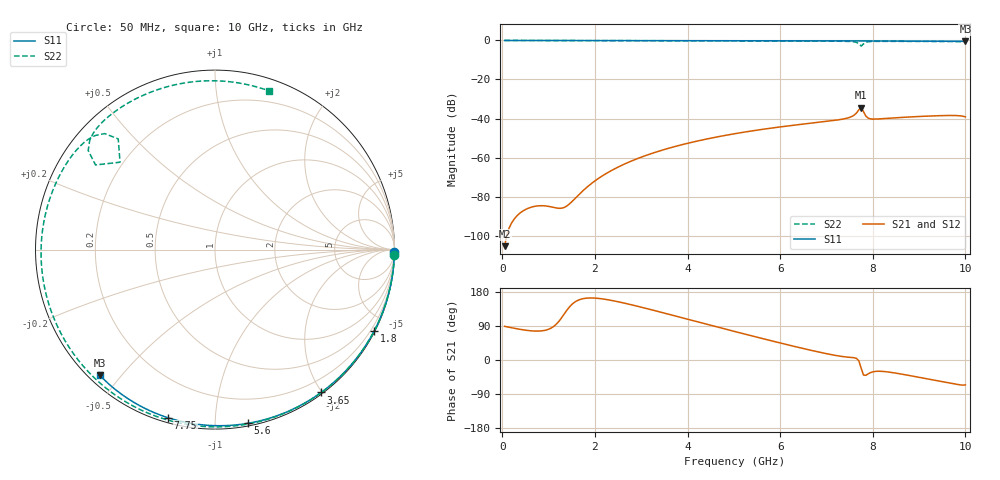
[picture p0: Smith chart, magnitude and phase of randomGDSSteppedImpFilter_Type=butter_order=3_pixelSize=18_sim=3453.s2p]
! freq	dB(S11)	phase(S11)	dB(S12)	phase(S12)
!  dB(S21)	phase(S21)	dB(S22)	phase(S22)
!S-par simulation data
#  GHz  S  DB  R 50
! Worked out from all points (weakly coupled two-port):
!   200 points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, 50 MHz to 10 GHz, reference 50 ohm
!   highest |S21| = -34.47 dB at 7.75 GHz (marker M1); lowest = -105.4 dB at 50 MHz (marker M2)
!   lowest |S11| = -0.5 dB at 10 GHz (marker M3), VSWR 36.08, Z = 1.65 - j22 ohm
!   |S11| at or under -10 dB: nowhere
!   |S22| runs from -2.9 to 0.0 dB; largest |S21 - S12| = 0
!   S11 on the Smith chart (normalised r, x): 50 MHz: open; 1.8 GHz: 0.04, -4.17; 3.65 GHz: 0.02, -1.99; 5.6 GHz: 0.02, -1.21; 7.75 GHz: 0.02, -0.76; 10 GHz: 0.03, -0.44
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0.05  -0.00 -0.8  -105.40 88.8  -105.40 88.8  -0.00 -1.8
0.75  -0.01 -11.3  -84.80 76.2  -84.80 76.2  -0.03 -26.8
1.6  -0.03 -24.0  -80.28 155.5  -80.28 155.5  -0.07 -55.8
1.75  -0.03 -26.2  -76.81 162.0  -76.81 162.0  -0.07 -60.8
1.8  -0.03 -27.0  -75.75 163.0  -75.75 163.0  -0.08 -62.4
2.1  -0.04 -31.3  -70.32 162.2  -70.32 162.2  -0.09 -72.0
2.45  -0.05 -36.4  -65.48 155.0  -65.48 155.0  -0.10 -82.9
3.4  -0.07 -49.9  -56.59 126.9  -56.59 126.9  -0.13 -110.6
3.65  -0.07 -53.4  -54.85 118.9  -54.85 118.9  -0.14 -117.5
4.35  -0.09 -62.9  -50.82 96.5  -50.82 96.5  -0.17 -136.1
5.05  -0.11 -72.2  -47.65 74.2  -47.65 74.2  -0.21 -154.0
5.6  -0.13 -79.4  -45.61 57.1  -45.61 57.1  -0.24 -167.9
6.7  -0.18 -93.1  -42.30 24.6  -42.30 24.6  -0.32 164.1
7.4  -0.22 -101.6  -40.06 8.3  -40.06 8.3  -0.44 144.3
7.65  -0.24 -104.5  -37.13 4.2  -37.13 4.2  -0.99 133.6
7.7  -0.24 -105.1  -35.51 -2.5  -35.51 -2.5  -1.73 131.1
7.75  -0.24 -105.7  -34.47 -21.9  -34.47 -21.9  -2.87 137.4
7.8  -0.24 -106.3  -36.50 -39.7  -36.50 -39.7  -1.77 144.7
7.9  -0.25 -107.5  -39.78 -36.6  -39.78 -36.6  -0.66 138.9
8.35  -0.28 -112.7  -39.85 -31.9  -39.85 -31.9  -0.45 122.3
9.2  -0.36 -122.6  -38.75 -50.3  -38.75 -50.3  -0.51 96.4
10  -0.48 -132.5  -39.16 -65.8  -39.16 -65.8  -0.59 71.1
